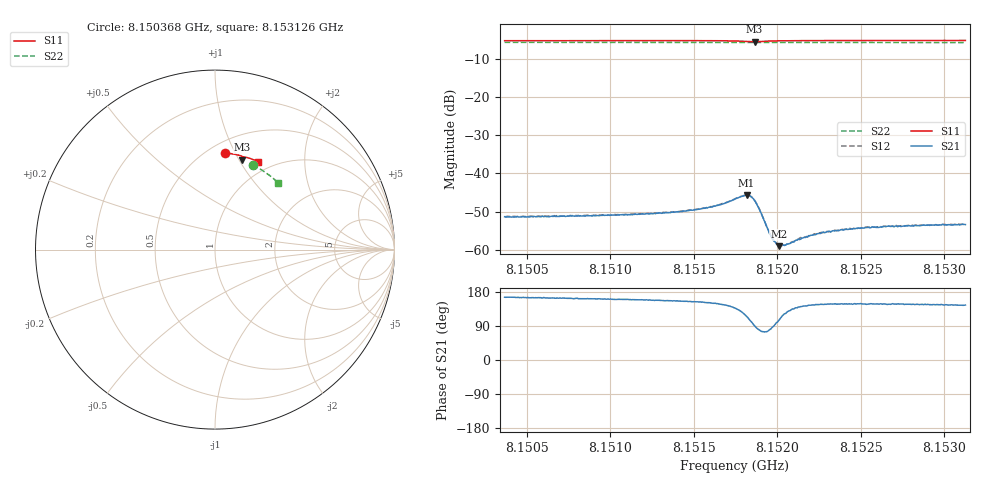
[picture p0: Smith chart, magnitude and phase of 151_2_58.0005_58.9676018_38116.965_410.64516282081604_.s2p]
#  HZ  S  RI  R  50.00
! Rohde & Schwarz Vector Network Analyzer
! Rohde-Schwarz,ZNB20-2Port,1311601062101988,3.16
! Created: UTC 3/21/2024, 12:57:02 AM
! freq[Hz]  re:S11  im:S11  re:S21  im:S21  re:S12  im:S12  re:S22  im:S22
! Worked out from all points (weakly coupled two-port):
!   401 points, 8.150368 GHz to 8.153126 GHz, reference 50 ohm
!   highest |S21| = -45.73 dB at 8.151816 GHz (marker M1); lowest = -59.1 dB at 8.152009 GHz (marker M2)
!   lowest |S11| = -5.6 dB at 8.151864 GHz (marker M3), VSWR 3.20, Z = 37.3 + j51.7 ohm
!   |S11| at or under -10 dB: nowhere
!   |S22| runs from -5.8 to -5.8 dB; largest |S21 - S12| = 0.00013
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8.1503675e9  0.0576 0.5383  -0.00262 0.000664  -0.00262 0.000716  0.2098 0.4705
8.1508296e9  0.0901 0.5345  -0.00262 0.000855  -0.00267 0.000885  0.2365 0.4571
8.1512917e9  0.123 0.5284  -0.0028 0.00116  -0.00277 0.00122  0.2623 0.4422
8.1514366e9  0.1334 0.5257  -0.00289 0.00135  -0.00293 0.00138  0.2702 0.4372
8.1515952e9  0.1458 0.5218  -0.00316 0.00174  -0.00315 0.00183  0.2786 0.4316
8.1516918e9  0.1539 0.5176  -0.00337 0.00238  -0.00333 0.00243  0.2837 0.4279
8.1517469e9  0.1584 0.513  -0.00338 0.00313  -0.00334 0.00323  0.2867 0.4256
8.1518159e9  0.1592 0.5035  -0.00221 0.00468  -0.00215 0.00473  0.2899 0.423
8.1518435e9  0.1552 0.501  -0.000998 0.00482  -0.000903 0.00489  0.2912 0.4219
8.1518642e9  0.1517 0.5017  -2.43e-05 0.00439  1.04e-05 0.00445  0.2922 0.4213
8.1518918e9  0.1492 0.5056  0.000633 0.00335  0.000696 0.0034  0.2934 0.4206
8.1519401e9  0.152 0.5121  0.000495 0.00187  0.000473 0.00186  0.296 0.4189
8.1519676e9  0.1549 0.5139  0.000118 0.00141  0.000158 0.00145  0.2976 0.4179
8.1519952e9  0.1579 0.515  -0.000177 0.00117  -0.000148 0.0012  0.2989 0.4169
8.152009e9  0.1594 0.5153  -0.000282 0.00108  -0.000316 0.00113  0.2998 0.4163
8.1520504e9  0.1635 0.5154  -0.000624 0.000972  -0.000599 0.000991  0.302 0.4148
8.1521263e9  0.1705 0.5147  -0.00105 0.000885  -0.00104 0.000902  0.3057 0.4119
8.152209e9  0.1772 0.5133  -0.00128 0.000888  -0.00125 0.00091  0.3101 0.4085
8.1522987e9  0.1839 0.5114  -0.00146 0.000927  -0.00143 0.000976  0.3145 0.405
8.1524228e9  0.1928 0.5086  -0.00155 0.00099  -0.00158 0.001  0.3207 0.4
8.1526711e9  0.2098 0.5024  -0.00171 0.00109  -0.0017 0.00112  0.3327 0.3897
8.1531263e9  0.2393 0.49  -0.00175 0.00122  -0.00175 0.00128  0.3538 0.3695
